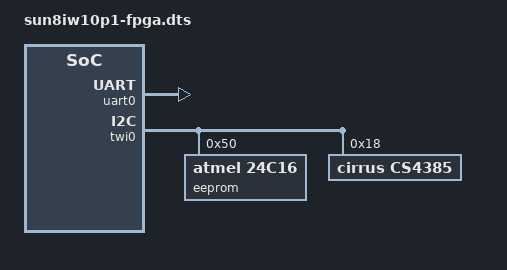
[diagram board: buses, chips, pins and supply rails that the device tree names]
/*
 * Allwinner Technology CO., Ltd. sun8iw10p1 fpga board.
 *
 * fpga board support.
 */

/dts-v1/;
#include "sun8iw10p1.dtsi"

/{

	soc@01c00000 {
		soc_timer0: timer@1c20c00 {
			interrupts = <GIC_SPI 6 IRQ_TYPE_EDGE_RISING>;
		};

		pio: pinctrl@01c20800 {
			interrupts = <GIC_SPI 3 4>,
				     <GIC_SPI 3 4>,
				     <GIC_SPI 3 4>,
				     <GIC_SPI 3 4>;
		};

		dma0:dma-controller@01c02000 {
			interrupts = <GIC_SPI 7 4>;
		};

		uart0: uart@01c28000 {
			interrupts = <GIC_SPI 1 IRQ_TYPE_LEVEL_HIGH>;           /* uart0 is IRQ33 on fpga */
			status = "okay";
		};

		twi0: twi@0x01c2ac00{
			interrupts = <GIC_SPI 2 IRQ_TYPE_LEVEL_HIGH>;           /* twi0 is IRQ34 on fpga */
			status = "okay";

			eeprom@50 {
				compatible = "atmel,24c16";
				reg = <0x50>;
			};
			cs4385@30 {
				compatible = "cirrus,cs4385";
				reg = <0x18>;
			};
		};

		spi0: spi@01c68000 {
			interrupts = <GIC_SPI 12 IRQ_TYPE_LEVEL_HIGH>;          /* spi0 is IRQ44 on fpga */
			status = "disabled";

			nor_flash@0 {
				#address-cells = <1>;
				#size-cells = <1>;
				compatible = "atmel,at25df641";
				spi-max-frequency = <50000000>;
				reg = <0>;	/* Chip select 0 */

				partition@0 {
					label = "NorFlash part0";
					reg = <0x00000000 0x00800000>;
				};
			};
		};
		csi_cci0:cci@0x01cb3000 {
			interrupts = <GIC_SPI 2 4>;/*SUNXI_IRQ_CSI0_CCI (SUNXI_GIC_START + 2) = 34 on fpga*/
		};
		csi0:vfe@0 {
			interrupts = <GIC_SPI 5 4>;/*SUNXI_IRQ_CSI0 (SUNXI_GIC_START + 4 ) = 37 on fpga*/
		};

		udc:udc-controller@0x01c19000 {
			interrupts = <GIC_SPI 17 IRQ_TYPE_LEVEL_HIGH>; /* udc is IRQ49 on fpga */
		};

		ehci0:ehci0-controller@0x01c1a000 {
			interrupts = <GIC_SPI 18 IRQ_TYPE_LEVEL_HIGH>; /* ehci0 is IRQ50 on fpga */
		};

		ohci0:ohci0-controller@0x01c1a400 {
			interrupts = <GIC_SPI 19 IRQ_TYPE_LEVEL_HIGH>; /* ohci0 is IRQ51 on fpga */
		};
	};
};
